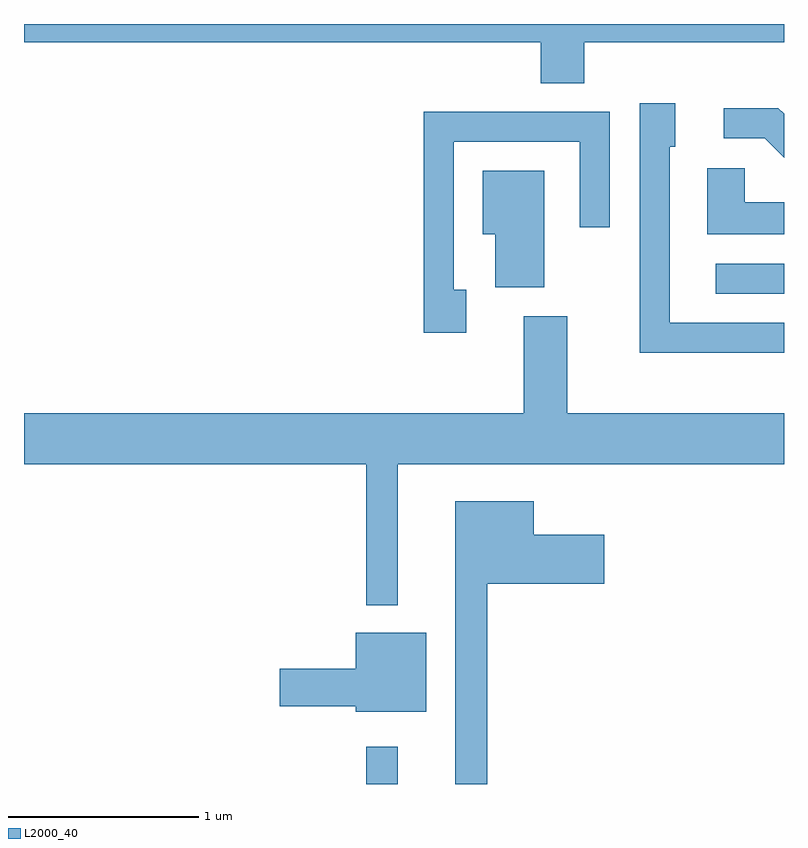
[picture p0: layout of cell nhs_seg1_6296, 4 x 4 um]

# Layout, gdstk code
import gdstk
lib = gdstk.Library(unit=1e-6, precision=1e-09)
def R(c, l, rs):  # rectangles x0, y0, x1, y1
    for r in rs: c.add(gdstk.rectangle(r[:2], r[2:], *l))
def P(c, l, *ps):  # polygons
    for p in ps: c.add(gdstk.Polygon(p, *l))
L2000_40 = (2000, 40)

nhs_seg1_6296 = lib.new_cell('nhs_seg1_6296')
R(nhs_seg1_6296, L2000_40, [(377.411,855.712,377.579,855.908), (379.253,858.291,379.611,858.449)])
P(nhs_seg1_6296, L2000_40, [(378.559,859.616),(379.611,859.616),(379.611,859.712),(375.611,859.712),(375.611,859.616),(378.331,859.616),(378.331,859.401),(378.559,859.401)],
  [(379.611,858.139),(379.009,858.139),(379.009,859.066),(379.039,859.066),(379.039,859.294),(378.851,859.294),(378.851,857.981),(379.611,857.981)],
  [(379.611,859.24),(379.582,859.269),(379.293,859.269),(379.293,859.111),(379.509,859.111),(379.611,859.009)],
  [(377.939,858.314),(377.874,858.314),(377.874,859.091),(378.536,859.091),(378.536,858.643),(378.694,858.643),(378.694,859.249),(377.716,859.249),(377.716,858.086),(377.939,858.086)],
  [(379.611,858.774),(379.404,858.774),(379.404,858.954),(379.206,858.954),(379.206,858.606),(379.611,858.606)],
  [(378.349,858.939),(378.026,858.939),(378.026,858.606),(378.091,858.606),(378.091,858.326),(378.349,858.326)],
  [(377.579,857.396),(379.611,857.396),(379.611,857.664),(378.469,857.664),(378.469,858.174),(378.241,858.174),(378.241,857.664),(375.611,857.664),(375.611,857.396),(377.411,857.396),(377.411,856.653),(377.579,856.653)],
  [(378.049,856.766),(378.664,856.766),(378.664,857.024),(378.294,857.024),(378.294,857.199),(377.881,857.199),(377.881,855.712),(378.049,855.712)],
  [(377.729,856.509),(377.356,856.509),(377.356,856.319),(376.956,856.319),(376.956,856.121),(377.356,856.121),(377.356,856.091),(377.729,856.091)])

lib.write_gds('nhs_seg1_6296.gds')
